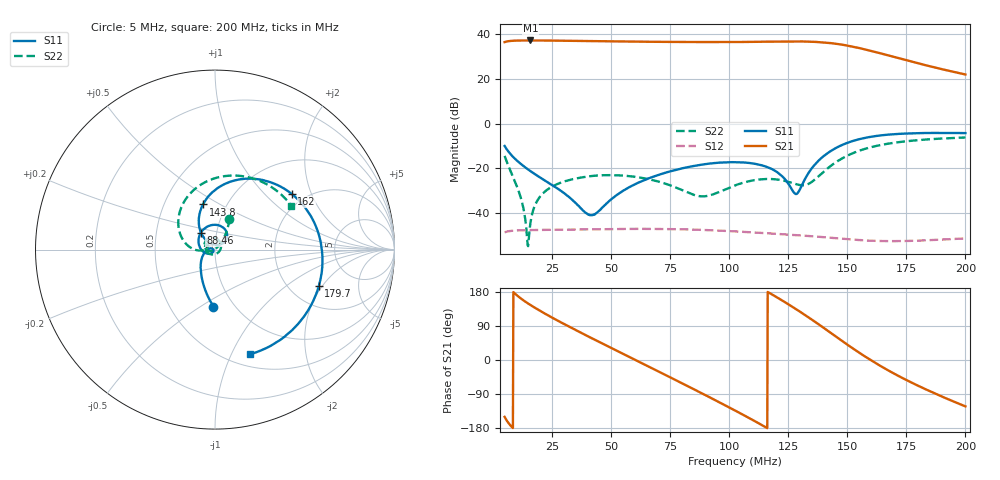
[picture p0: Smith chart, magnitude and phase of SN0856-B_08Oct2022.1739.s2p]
# Hz S DB R 50
! CMT, M5045, 22160017, 22.3.3/2
! Date: 10/8/2022 17:39:40
! Data: Format (Calibration Info)
! Freq	S11:dB/Ang(F2)	S21:dB/Ang(F2)	S12:dB/Ang(F2)	S22:dB/Ang(F2)
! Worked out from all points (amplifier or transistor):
!   1001 points, 5 MHz to 200 MHz, reference 50 ohm
!   highest |S21| = 37.1 dB at 15.92 MHz (marker M1)
!   |S21| within 3 dB of that: start of sweep to 153.4 MHz
!   unconditionally stable (mu >= 1): start of sweep to end of sweep
!   at 37.37 MHz: K = 1.78, MAG = 36.9 dB, |S12| = -47.2 dB
!   at 102.5 MHz: K = 2.01, MAG = 36.5 dB, |S12| = -48.1 dB
!   at 200 MHz: K = 7.18, MAG = 25.0 dB, |S12| = -51.2 dB
!   S11 on the Smith chart (normalised r, x): 5 MHz: 0.80, -0.57; 88.46 MHz: 0.84, +0.15; 143.8 MHz: 0.78, +0.42; 162 MHz: 1.70, +1.46; 179.7 MHz: 2.84, -1.86; 200 MHz: 0.63, -1.18
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5000000  -9.97 -91.5  36.39 -150.1  -48.49 -147.3  -14.39 65.1
9290000  -15.59 -116.8  37.04 175.7  -47.72 178.4  -25.61 49.1
1.592e7  -21.18 -147.1  37.13 145.1  -47.51 147.6  -44.34 -165.7
2.645e7  -28.31 176.0  37.06 107.3  -47.34 110.7  -27.37 -173.7
3.7565e7  -38.07 165.3  36.90 71.0  -47.18 75.7  -24.00 159.8
4.634e7  -37.44 -132.7  36.79 43.4  -47.08 49.5  -23.03 135.8
5.4335e7  -30.53 -134.7  36.68 18.5  -47.00 26.1  -23.14 111.9
6.2135e7  -26.10 -153.1  36.59 -5.6  -46.97 3.4  -24.03 87.1
7.013e7  -22.87 -175.2  36.52 -30.4  -47.00 -19.8  -25.85 58.5
7.988e7  -20.01 156.7  36.45 -60.8  -47.15 -48.2  -29.57 12.7
8.846e7  -18.29 131.5  36.42 -87.9  -47.42 -73.4  -32.45 -53.0
1.025e8  -17.19 89.9  36.43 -133.2  -48.09 -115.8  -27.56 -148.4
1.1147e8  -18.02 63.7  36.52 -163.4  -48.63 -144.3  -25.09 176.2
1.19465e8  -21.05 42.9  36.64 168.2  -49.15 -171.8  -24.83 152.8
1.26875e8  -29.90 56.3  36.71 140.0  -49.65 160.1  -26.52 145.0
1.35065e8  -19.83 132.0  36.56 106.4  -50.26 125.2  -25.94 175.9
1.4384e8  -11.69 104.9  35.84 67.9  -51.00 83.5  -18.22 178.2
1.5242e8  -7.71 71.4  34.35 30.3  -51.75 41.8  -13.16 153.8
1.61975e8  -5.54 35.9  31.96 -8.0  -52.31 -0.6  -10.02 123.5
1.6763e8  -4.88 16.8  30.39 -28.4  -52.43 -22.4  -8.88 106.8
1.7972e8  -4.25 -19.5  27.01 -67.1  -52.21 -61.3  -7.38 74.8
2e8  -4.22 -71.8  21.94 -122.4  -51.22 -112.7  -6.19 29.8
